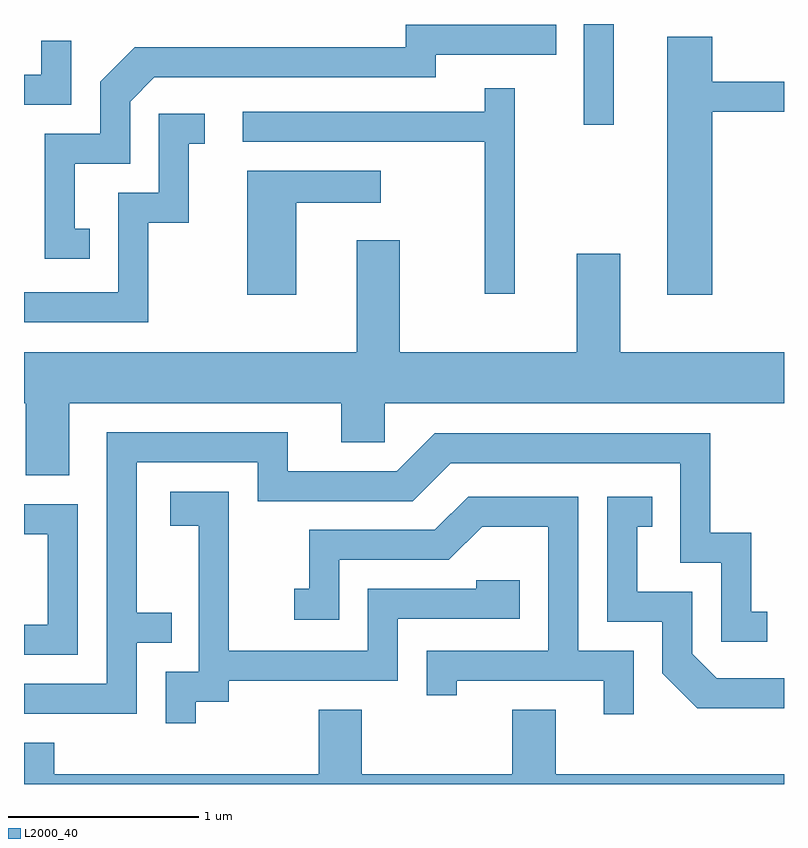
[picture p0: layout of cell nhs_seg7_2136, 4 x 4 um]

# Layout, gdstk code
import gdstk
lib = gdstk.Library(unit=1e-6, precision=1e-09)
def R(c, l, rs):  # rectangles x0, y0, x1, y1
    for r in rs: c.add(gdstk.rectangle(r[:2], r[2:], *l))
def P(c, l, *ps):  # polygons
    for p in ps: c.add(gdstk.Polygon(p, *l))
L2000_40 = (2000, 40)

nhs_seg7_2136 = lib.new_cell('nhs_seg7_2136')
R(nhs_seg7_2136, L2000_40, [(252.556,1775.723,252.714,1776.252)])
P(nhs_seg7_2136, L2000_40, [(249.958,1775.174),(249.879,1775.174),(249.879,1775.516),(250.169,1775.516),(250.169,1775.844),(250.297,1775.971),(251.779,1775.971),(251.779,1776.091),(252.413,1776.091),(252.413,1776.249),(251.621,1776.249),(251.621,1776.129),(250.194,1776.129),(250.011,1775.947),(250.011,1775.674),(249.721,1775.674),(249.721,1775.016),(249.958,1775.016)],
  [(253.234,1775.791),(253.611,1775.791),(253.611,1775.949),(253.234,1775.949),(253.234,1776.184),(252.996,1776.184),(252.996,1774.826),(253.234,1774.826)],
  [(249.859,1776.163),(249.701,1776.163),(249.701,1775.984),(249.611,1775.984),(249.611,1775.826),(249.859,1775.826)],
  [(252.194,1775.913),(252.036,1775.913),(252.036,1775.789),(250.763,1775.789),(250.763,1775.631),(252.036,1775.631),(252.036,1774.833),(252.194,1774.833)],
  [(250.264,1775.206),(250.479,1775.206),(250.479,1775.621),(250.563,1775.621),(250.563,1775.779),(250.321,1775.779),(250.321,1775.364),(250.106,1775.364),(250.106,1774.839),(249.611,1774.839),(249.611,1774.681),(250.264,1774.681)],
  [(251.044,1775.311),(251.488,1775.311),(251.488,1775.479),(250.786,1775.479),(250.786,1774.826),(251.044,1774.826)],
  [(249.849,1774.256),(251.281,1774.256),(251.281,1774.051),(251.509,1774.051),(251.509,1774.256),(253.611,1774.256),(253.611,1774.524),(252.749,1774.524),(252.749,1775.044),(252.521,1775.044),(252.521,1774.524),(251.589,1774.524),(251.589,1775.114),(251.361,1775.114),(251.361,1774.524),(249.611,1774.524),(249.611,1774.256),(249.621,1774.256),(249.621,1773.876),(249.849,1773.876)],
  [(250.204,1772.996),(250.388,1772.996),(250.388,1773.154),(250.204,1773.154),(250.204,1773.946),(250.841,1773.946),(250.841,1773.741),(251.657,1773.741),(251.857,1773.941),(253.066,1773.941),(253.066,1773.416),(253.281,1773.416),(253.281,1773.001),(253.523,1773.001),(253.523,1773.159),(253.439,1773.159),(253.439,1773.574),(253.224,1773.574),(253.224,1774.099),(251.774,1774.099),(251.574,1773.899),(250.999,1773.899),(250.999,1774.104),(250.046,1774.104),(250.046,1772.779),(249.611,1772.779),(249.611,1772.621),(250.204,1772.621)],
  [(250.514,1772.686),(250.689,1772.686),(250.689,1772.796),(251.579,1772.796),(251.579,1773.121),(252.219,1773.121),(252.219,1773.324),(251.991,1773.324),(251.991,1773.279),(251.421,1773.279),(251.421,1772.954),(250.689,1772.954),(250.689,1773.789),(250.381,1773.789),(250.381,1773.611),(250.531,1773.611),(250.531,1772.844),(250.356,1772.844),(250.356,1772.573),(250.514,1772.573)],
  [(252.819,1772.954),(252.529,1772.954),(252.529,1773.764),(251.949,1773.764),(251.774,1773.589),(251.111,1773.589),(251.111,1773.279),(251.033,1773.279),(251.033,1773.116),(251.269,1773.116),(251.269,1773.431),(251.847,1773.431),(252.022,1773.606),(252.371,1773.606),(252.371,1772.954),(251.731,1772.954),(251.731,1772.718),(251.889,1772.718),(251.889,1772.796),(252.661,1772.796),(252.661,1772.618),(252.819,1772.618)],
  [(253.611,1772.809),(253.257,1772.809),(253.129,1772.937),(253.129,1773.264),(252.839,1773.264),(252.839,1773.606),(252.918,1773.606),(252.918,1773.764),(252.681,1773.764),(252.681,1773.106),(252.971,1773.106),(252.971,1772.834),(253.154,1772.651),(253.611,1772.651)],
  [(249.894,1773.724),(249.611,1773.724),(249.611,1773.566),(249.736,1773.566),(249.736,1773.089),(249.611,1773.089),(249.611,1772.931),(249.894,1772.931)],
  [(253.611,1772.304),(252.409,1772.304),(252.409,1772.644),(252.181,1772.644),(252.181,1772.304),(251.389,1772.304),(251.389,1772.644),(251.161,1772.644),(251.161,1772.304),(249.769,1772.304),(249.769,1772.469),(249.611,1772.469),(249.611,1772.252),(253.611,1772.252)])

lib.write_gds('nhs_seg7_2136.gds')
